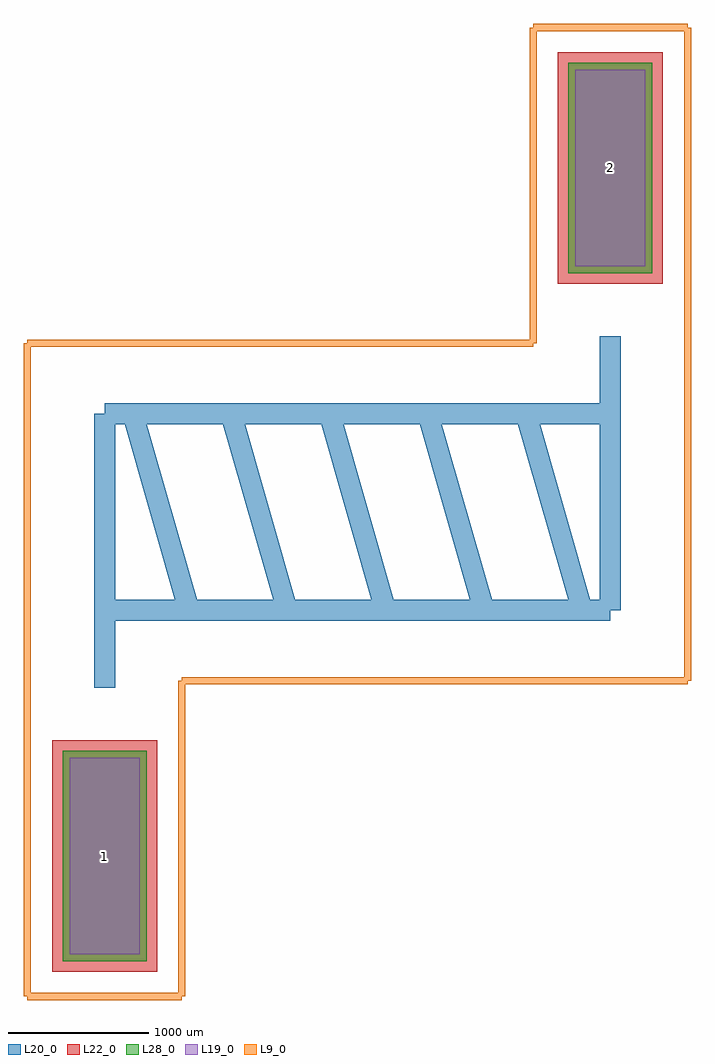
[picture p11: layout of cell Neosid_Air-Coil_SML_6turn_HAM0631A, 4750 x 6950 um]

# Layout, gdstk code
import gdstk
lib = gdstk.Library(unit=1e-6, precision=1e-09)
def R(c, l, rs):  # rectangles x0, y0, x1, y1
    for r in rs: c.add(gdstk.rectangle(r[:2], r[2:], *l))
L9_0 = (9, 0)
L19_0 = (19, 0)
L20_0 = (20, 0)
L22_0 = (22, 0)
L28_0 = (28, 0)

neosid_air_coil_sml_6tur = lib.new_cell('Neosid_Air-Coil_SML_6turn_HAM0631A')
R(neosid_air_coil_sml_6tur, L19_0, [(-2050,-3150,-1550,-1750), (1550,1750,2050,3150)])
R(neosid_air_coil_sml_6tur, L22_0, [(-2175,-3275,-1425,-1625), (1425,1625,2175,3275)])
R(neosid_air_coil_sml_6tur, L28_0, [(-2100,-3200,-1500,-1700), (1500,1700,2100,3200)])
neosid_air_coil_sml_6tur.add(gdstk.FlexPath([(1800,-700),(1800,1250)], 149.998, ends="flush", simple_path=True, layer=20, datatype=0))  # L20_0
neosid_air_coil_sml_6tur.add(gdstk.FlexPath([(-1800,700),(-1800,-1250)], 149.998, ends="flush", simple_path=True, layer=20, datatype=0))  # L20_0
neosid_air_coil_sml_6tur.add(gdstk.FlexPath([(-1800,700),(1800,700)], 149.998, ends="flush", simple_path=True, layer=20, datatype=0))  # L20_0
neosid_air_coil_sml_6tur.add(gdstk.FlexPath([(1800,-700),(-1800,-700)], 149.998, ends="flush", simple_path=True, layer=20, datatype=0))  # L20_0
neosid_air_coil_sml_6tur.add(gdstk.FlexPath([(-1600,700),(-1200,-700)], 149.998, ends="flush", simple_path=True, layer=20, datatype=0))  # L20_0
neosid_air_coil_sml_6tur.add(gdstk.FlexPath([(-900,700),(-500,-700)], 149.998, ends="flush", simple_path=True, layer=20, datatype=0))  # L20_0
neosid_air_coil_sml_6tur.add(gdstk.FlexPath([(-200,700),(200,-700)], 149.998, ends="flush", simple_path=True, layer=20, datatype=0))  # L20_0
neosid_air_coil_sml_6tur.add(gdstk.FlexPath([(500,700),(900,-700)], 149.998, ends="flush", simple_path=True, layer=20, datatype=0))  # L20_0
neosid_air_coil_sml_6tur.add(gdstk.FlexPath([(1200,700),(1600,-700)], 149.998, ends="flush", simple_path=True, layer=20, datatype=0))  # L20_0
neosid_air_coil_sml_6tur.add(gdstk.FlexPath([(-2350,1200),(-2350,-3450)], 50, ends="flush", simple_path=True, layer=9, datatype=0))  # L9_0
neosid_air_coil_sml_6tur.add(gdstk.FlexPath([(1250,1200),(-2350,1200)], 50, ends="flush", simple_path=True, layer=9, datatype=0))  # L9_0
neosid_air_coil_sml_6tur.add(gdstk.FlexPath([(1250,3450),(1250,1200)], 50, ends="flush", simple_path=True, layer=9, datatype=0))  # L9_0
neosid_air_coil_sml_6tur.add(gdstk.FlexPath([(2350,3450),(1250,3450)], 50, ends="flush", simple_path=True, layer=9, datatype=0))  # L9_0
neosid_air_coil_sml_6tur.add(gdstk.FlexPath([(2350,-1200),(2350,3450)], 50, ends="flush", simple_path=True, layer=9, datatype=0))  # L9_0
neosid_air_coil_sml_6tur.add(gdstk.FlexPath([(-1250,-1200),(2350,-1200)], 50, ends="flush", simple_path=True, layer=9, datatype=0))  # L9_0
neosid_air_coil_sml_6tur.add(gdstk.FlexPath([(-1250,-3450),(-1250,-1200)], 50, ends="flush", simple_path=True, layer=9, datatype=0))  # L9_0
neosid_air_coil_sml_6tur.add(gdstk.FlexPath([(-2350,-3450),(-1250,-3450)], 50, ends="flush", simple_path=True, layer=9, datatype=0))  # L9_0
neosid_air_coil_sml_6tur.add(gdstk.Label('2', (1800,2450), layer=28, texttype=0))
neosid_air_coil_sml_6tur.add(gdstk.Label('1', (-1800,-2450), layer=28, texttype=0))
neosid_air_coil_sml_6tur.add(gdstk.Label('type', (0,-4500), layer=9, texttype=0))
neosid_air_coil_sml_6tur.add(gdstk.Label('devicename', (0,4500), layer=9, texttype=0))

lib.write_gds('Neosid_Air-Coil_SML_6turn_HAM0631A.gds')
